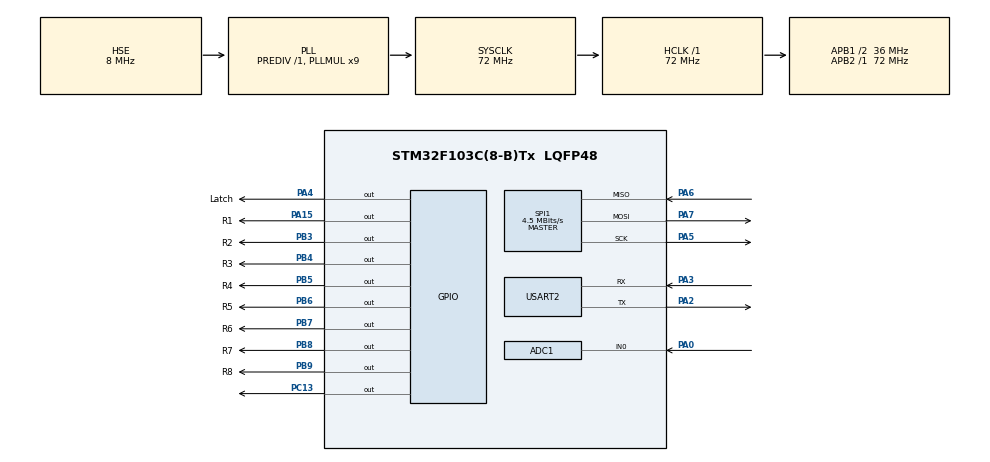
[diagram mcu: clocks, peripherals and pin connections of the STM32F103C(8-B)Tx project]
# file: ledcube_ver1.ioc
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ADC1.Channel-0\#ChannelRegularConversion=ADC_CHANNEL_0
ADC1.ContinuousConvMode=ENABLE
ADC1.NbrOfConversionFlag=1
ADC1.Rank-0\#ChannelRegularConversion=1
ADC1.SamplingTime-0\#ChannelRegularConversion=ADC_SAMPLETIME_1CYCLE_5
ADC1.master=1
Dma.ADC1.0.Direction=DMA_PERIPH_TO_MEMORY
Dma.ADC1.0.Instance=DMA1_Channel1
Dma.ADC1.0.MemDataAlignment=DMA_MDATAALIGN_HALFWORD
Dma.ADC1.0.MemInc=DMA_MINC_ENABLE
Dma.ADC1.0.Mode=DMA_CIRCULAR
Dma.ADC1.0.PeriphDataAlignment=DMA_PDATAALIGN_HALFWORD
Dma.ADC1.0.PeriphInc=DMA_PINC_DISABLE
Dma.ADC1.0.Priority=DMA_PRIORITY_LOW
Dma.Request0=ADC1
Mcu.Family=STM32F1
Mcu.Name=STM32F103C(8-B)Tx
Mcu.Package=LQFP48
NVIC.DMA1_Channel1_IRQn=true\:0\:0\:false\:false\:true\:false\:true\:true
NVIC.PriorityGroup=NVIC_PRIORITYGROUP_4
PA0-WKUP.Signal=ADCx_IN0
PA13.Mode=Serial_Wire
PA13.Signal=SYS_JTMS-SWDIO
PA14.Mode=Serial_Wire
PA14.Signal=SYS_JTCK-SWCLK
PA15.GPIO_Label=R1
PA15.GPIO_Speed=GPIO_SPEED_FREQ_MEDIUM
PA15.PinState=GPIO_PIN_SET
PA15.Signal=GPIO_Output
PA2.Mode=Asynchronous
PA2.Signal=USART2_TX
PA3.Mode=Asynchronous
PA3.Signal=USART2_RX
PA4.GPIO_Label=Latch
PA4.Signal=GPIO_Output
PA5.Mode=Full_Duplex_Master
PA5.Signal=SPI1_SCK
PA6.Mode=Full_Duplex_Master
PA6.Signal=SPI1_MISO
PA7.Mode=Full_Duplex_Master
PA7.Signal=SPI1_MOSI
PB3.GPIO_Label=R2
PB3.GPIO_Speed=GPIO_SPEED_FREQ_MEDIUM
PB3.PinState=GPIO_PIN_SET
PB3.Signal=GPIO_Output
PB4.GPIO_Label=R3
PB4.GPIO_Speed=GPIO_SPEED_FREQ_MEDIUM
PB4.PinState=GPIO_PIN_SET
PB4.Signal=GPIO_Output
PB5.GPIO_Label=R4
PB5.GPIO_Speed=GPIO_SPEED_FREQ_MEDIUM
PB5.PinState=GPIO_PIN_SET
PB5.Signal=GPIO_Output
PB6.GPIO_Label=R5
PB6.GPIO_Speed=GPIO_SPEED_FREQ_MEDIUM
PB6.PinState=GPIO_PIN_SET
PB6.Signal=GPIO_Output
PB7.GPIO_Label=R6
PB7.GPIO_Speed=GPIO_SPEED_FREQ_MEDIUM
PB7.PinState=GPIO_PIN_SET
PB7.Signal=GPIO_Output
PB8.GPIO_Label=R7
PB8.GPIO_Speed=GPIO_SPEED_FREQ_MEDIUM
PB8.PinState=GPIO_PIN_SET
PB8.Signal=GPIO_Output
PB9.GPIO_Label=R8
PB9.GPIO_Speed=GPIO_SPEED_FREQ_MEDIUM
PB9.PinState=GPIO_PIN_SET
PB9.Signal=GPIO_Output
PC13-TAMPER-RTC.Signal=GPIO_Output
PD0-OSC_IN.Mode=HSE-External-Oscillator
PD0-OSC_IN.Signal=RCC_OSC_IN
PD1-OSC_OUT.Mode=HSE-External-Oscillator
PD1-OSC_OUT.Signal=RCC_OSC_OUT
ProjectManager.HeapSize=0x200
ProjectManager.StackSize=0x400
ProjectManager.TargetToolchain=STM32CubeIDE
RCC.ADCPresc=RCC_ADCPCLK2_DIV6
RCC.AHBFreq_Value=72000000
RCC.APB1CLKDivider=RCC_HCLK_DIV2
RCC.APB1Freq_Value=36000000
RCC.APB1TimFreq_Value=72000000
RCC.APB2Freq_Value=72000000
RCC.APB2TimFreq_Value=72000000
RCC.HCLKFreq_Value=72000000
RCC.PLLMUL=RCC_PLL_MUL9
RCC.PLLSourceVirtual=RCC_PLLSOURCE_HSE
RCC.SYSCLKFreq_VALUE=72000000
RCC.SYSCLKSource=RCC_SYSCLKSOURCE_PLLCLK
RCC.USBFreq_Value=72000000
SH.ADCx_IN0.0=ADC1_IN0,IN0
SPI1.BaudRatePrescaler=SPI_BAUDRATEPRESCALER_16
SPI1.CalculateBaudRate=4.5 MBits/s
SPI1.Direction=SPI_DIRECTION_2LINES
SPI1.Mode=SPI_MODE_MASTER
SPI1.VirtualType=VM_MASTER
TIM2.Period=9
TIM2.Prescaler=7199
USART2.VirtualMode=VM_ASYNC
VP_TIM2_VS_ClockSourceINT.Mode=Internal
board=custom

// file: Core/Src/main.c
/* USER CODE BEGIN Header */
/**
  ******************************************************************************
  * @file           : main.c
  * @brief          : Main program body
  ******************************************************************************
  * @attention
  *
  * Copyright (c) 2025 STMicroelectronics.
  * All rights reserved.
  *
  * This software is licensed under terms that can be found in the LICENSE file
  * in the root directory of this software component.
  * If no LICENSE file comes with this software, it is provided AS-IS.
  *
  ******************************************************************************
  */
/* USER CODE END Header */
#include "main.h"

/* USER CODE BEGIN Includes */
#include "stdlib.h"
#include <string.h>
/* USER CODE END Includes */

ADC_HandleTypeDef hadc1;
DMA_HandleTypeDef hdma_adc1;

SPI_HandleTypeDef hspi1;

TIM_HandleTypeDef htim2;

UART_HandleTypeDef huart2;

/* USER CODE BEGIN PV */
#define LATCH_GPIO_Port   GPIOA
#define Latch_Pin         GPIO_PIN_4

// ====== TUỲ CHỌN DÂY DỢ ======
#define INVERT_BITS          0   // 1 nếu cột là active-low (0 = sáng)
#define REVERSE_BIT_ORDER    1   // 1 nếu cột 0 đang đi vào Q7 (MSB<->LSB)
#define REVERSE_BYTE_ORDER   0   // 1 nếu byte[0] đang rơi vào 74HC595 cuối

#define LAYER_ACTIVE_HIGH    1   // 1 nếu GPIO=SET => bật tầng; 0 nếu ngược lại

static uint8_t cube[8][8];   // [z][y], mỗi byte chứa 8 bit cho x
static uint8_t scan_z = 0;

static uint32_t lastRainTick = 0;
/* USER CODE END PV */

void SystemClock_Config(void);
static void MX_GPIO_Init(void);
static void MX_DMA_Init(void);
static void MX_ADC1_Init(void);
static void MX_SPI1_Init(void);
static void MX_USART2_UART_Init(void);
static void MX_TIM2_Init(void);
/* USER CODE BEGIN PFP */
static void sendTo74HC595(uint8_t const *data8);
static void disable_all_layers(void);
static void enable_layer(uint8_t z);
static void cube_clear(void);
static void rain_effect_update(void);
/* USER CODE END PFP */

/* USER CODE BEGIN 0 */

// Đảo bit trong 1 byte (MSB<->LSB)
static inline uint8_t reverse_bits(uint8_t b) {
    b = (b & 0xF0) >> 4 | (b & 0x0F) << 4;
    b = (b & 0xCC) >> 2 | (b & 0x33) << 2;
    b = (b & 0xAA) >> 1 | (b & 0x55) << 1;
    return b;
}

// Chuẩn hoá 1 byte hàng trước khi gửi ra 74HC595
static inline uint8_t normalize_row(uint8_t b) {
    if (REVERSE_BIT_ORDER) b = reverse_bits(b); // trái-phải
    if (INVERT_BITS)       b = (uint8_t)~b;     // 0<->1 (active-low)
    return b;
}

// Gửi 8 byte (8 hàng) cho 1 tầng
static void sendTo74HC595(uint8_t const *data8)
{
    uint8_t buf[8];
    for (int i = 0; i < 8; i++) {
        uint8_t b = data8[i];
        buf[i] = normalize_row(b);
    }
    if (REVERSE_BYTE_ORDER) {
        // đảo thứ tự 8 byte (y: 0..7 -> 7..0)
        for (int i = 0; i < 4; i++) {
            uint8_t t = buf[i]; buf[i] = buf[7-i]; buf[7-i] = t;
        }
    }
    HAL_GPIO_WritePin(LATCH_GPIO_Port, Latch_Pin, GPIO_PIN_RESET);
    HAL_SPI_Transmit(&hspi1, buf, 8, HAL_MAX_DELAY);
    HAL_GPIO_WritePin(LATCH_GPIO_Port, Latch_Pin, GPIO_PIN_SET);
}

// ========== Tắt tất cả tầng ==========
static void disable_all_layers(void)
{
    // RESET = 0, SET = 1
    HAL_GPIO_WritePin(GPIOA, GPIO_PIN_15, LAYER_ACTIVE_HIGH ? GPIO_PIN_RESET : GPIO_PIN_SET);
    for (int i = 3; i <= 9; i++) {
        HAL_GPIO_WritePin(GPIOB, (uint16_t)(1u << i), LAYER_ACTIVE_HIGH ? GPIO_PIN_RESET : GPIO_PIN_SET);
    }
}

// ========== Bật 1 tầng ==========
static void enable_layer(uint8_t z)
{
    GPIO_TypeDef *port = NULL; uint16_t pin = 0;
    switch (z) {
        case 0: port = GPIOA; pin = GPIO_PIN_15; break;
        case 1: port = GPIOB; pin = GPIO_PIN_3;  break;
        case 2: port = GPIOB; pin = GPIO_PIN_4;  break;
        case 3: port = GPIOB; pin = GPIO_PIN_5;  break;
        case 4: port = GPIOB; pin = GPIO_PIN_6;  break;
        case 5: port = GPIOB; pin = GPIO_PIN_7;  break;
        case 6: port = GPIOB; pin = GPIO_PIN_8;  break;
        case 7: port = GPIOB; pin = GPIO_PIN_9;  break;
        default: return;
    }
    HAL_GPIO_WritePin(port, pin, LAYER_ACTIVE_HIGH ? GPIO_PIN_SET : GPIO_PIN_RESET);
}

// ========== Xoá khối ==========
static void cube_clear(void)
{
    for (int z = 0; z < 8; z++)
        for (int y = 0; y < 8; y++)
            cube[z][y] = 0x00;
}

// ========== Cập nhật mưa ==========
// Ý tưởng: dịch các tầng xuống (7->6->...->0), xoá tầng 7, sinh vài hạt mới
//static void rain_effect_update(void)
//{
//    // Dịch xuống
//    for (int z = 0; z < 7; z++) {
//        for (int y = 0; y < 8; y++) {
//            cube[z][y] = cube[z+1][y];
//        }
//    }
//    // Xoá tầng 7
//    for (int y = 0; y < 8; y++) cube[7][y] = 0x00;
//
//    // Sinh hạt mới (tuỳ chỉnh số lượng/prob)
//    // Cách 1: số hạt cố định mỗi frame
//    // for (int i = 0; i < 2; i++) { uint8_t x = rand()%8, y = rand()%8; cube[7][y] |= (1u<<x); }
//
//    // Cách 2: xác suất – đều và “tơi” hơn
//    const float spawnProb = 0.20f;  // 20% mỗi vị trí
//    for (int y = 0; y < 8; y++) {
//        for (int x = 0; x < 8; x++) {
//            if ((rand() & 0xFFFF) < (uint16_t)(spawnProb * 65535.0f)) {
//                cube[7][y] |= (1u << x);
//            }
//        }
//    }
//}

// ========== Cập nhật mưa: spawn tại z=0, dịch lên z lớn ==========
static void rain_effect_update(void)
{
    // Dịch các lớp "lên trên": (z=7..1) lấy dữ liệu từ (z-1)
    for (int z = 7; z > 0; z--) {
        for (int y = 0; y < 8; y++) {
            cube[z][y] = cube[z-1][y];
        }
    }

    // Xoá tầng gốc (z=0) trước khi sinh hạt mới
    for (int y = 0; y < 8; y++) cube[0][y] = 0x00;

    // Sinh hạt mưa mới tại z=0
    const float spawnProb = 0.20f;  // 20% xác suất mỗi ô
    for (int y = 0; y < 8; y++) {
        for (int x = 0; x < 8; x++) {
            if ((rand() & 0xFFFF) < (uint16_t)(spawnProb * 65535.0f)) {
                cube[0][y] |= (1u << x);
            }
        }
    }
}

// ========== Timer IRQ: quét tầng ==========
void HAL_TIM_PeriodElapsedCallback(TIM_HandleTypeDef *htim)
{
    if (htim->Instance == TIM2)
    {
        disable_all_layers();
        sendTo74HC595(cube[scan_z]);
        enable_layer(scan_z);
        scan_z = (uint8_t)((scan_z + 1) & 0x07);
    }
}

void Cube_AllOff_Immediate(void)
{
  __disable_irq();

  // 1) Dừng quét để ngắt không bật tầng nữa
  HAL_TIM_Base_Stop_IT(&htim2);

  // 2) Tắt toàn bộ tầng (chú ý mức active của phần cứng bạn)
  disable_all_layers();   // với bạn: PA15, PB3..PB9 = RESET là tắt

  // 3) Ghi 0 vào chuỗi 74HC595 và chốt LATCH
  uint8_t zeros[8] = {0};
  HAL_GPIO_WritePin(LATCH_GPIO_Port, Latch_Pin, GPIO_PIN_RESET);
  HAL_SPI_Transmit(&hspi1, zeros, 8, HAL_MAX_DELAY);
  HAL_GPIO_WritePin(LATCH_GPIO_Port, Latch_Pin, GPIO_PIN_SET);

  // 4) Xoá buffer phần mềm để khi bật lại cũng không sáng
  cube_clear();

  // 5) (Tuỳ chọn) Nếu có nối /OE và /SRCLR thì chặn luôn đầu ra
  #ifdef CUBE_OE_Pin
    // /OE mức HIGH = tắt (tri-state)
    HAL_GPIO_WritePin(CUBE_OE_GPIO_Port, CUBE_OE_Pin, GPIO_PIN_SET);
  #endif
  #ifdef CUBE_SRCLR_Pin
    // /SRCLR mức LOW = xoá, sau đó trả lại HIGH để sẵn sàng
    HAL_GPIO_WritePin(CUBE_SRCLR_GPIO_Port, CUBE_SRCLR_Pin, GPIO_PIN_RESET);
    HAL_GPIO_WritePin(CUBE_SRCLR_GPIO_Port, CUBE_SRCLR_Pin, GPIO_PIN_SET);
  #endif

  __enable_irq();
}

// Xoá 1 mặt phẳng z
static inline void plane_clear(uint8_t z) {
  for (int y=0; y<8; y++) cube[z][y] = 0x00;
}

// State cho hiệu ứng
static uint8_t  colIdx = 0;         // 0..63
static uint32_t lastStepTick = 0;

// Gọi lặp trong while(1): chạy trên 1 tầng z
void effect_columns_layer_tick(uint8_t z, uint32_t step_ms)
{
  uint32_t now = HAL_GetTick();
  if (now - lastStepTick < step_ms) return;
  lastStepTick = now;

  // Tính y, x từ chỉ số cột 0..63
  uint8_t y = colIdx / 8;
  uint8_t x = colIdx % 8;

  // Vẽ
//  plane_clear(z);
  cube[z][y] = (uint8_t)(1u << x);

  // Next
  colIdx = (uint8_t)((colIdx + 1) & 0x3F); // %64
}

//static uint8_t  vColIdx = 0;         // 0..63
//static uint32_t vLastStep = 0;
//
//void effect_columns_vertical_tick(uint32_t step_ms)
//{
//  uint32_t now = HAL_GetTick();
//  if (now - vLastStep < step_ms) return;
//  vLastStep = now;
//
//  uint8_t y = vColIdx / 8;
//  uint8_t x = vColIdx % 8;
//
//  // Clear toàn khối rồi bật trục z ở (x,y)
//  cube_clear();
//  for (int z = 0; z < 8; z++) {
//    cube[z][y] |= (uint8_t)(1u << x);
//  }
//
//  vColIdx = (uint8_t)((vColIdx + 1) & 0x3F);
//}

/* USER CODE END 0 */

int main(void)
{

  /* MCU Configuration--------------------------------------------------------*/

  /* Reset of all peripherals, Initializes the Flash interface and the Systick. */
  HAL_Init();

  /* Configure the system clock */
  SystemClock_Config();

  /* Initialize all configured peripherals */
  MX_GPIO_Init();
  MX_DMA_Init();
  MX_ADC1_Init();
  MX_SPI1_Init();
  MX_USART2_UART_Init();
  MX_TIM2_Init();
  /* USER CODE BEGIN 2 */
  // Nếu dùng PB3/PB4 làm GPIO, tắt JTAG (giữ SWD):
    __HAL_AFIO_REMAP_SWJ_NOJTAG();

    // Seed random (đơn giản)
    srand( (unsigned)HAL_GetTick() ^ 0xA5A5u );

    cube_clear();

    // Bật timer quét tầng
    HAL_TIM_Base_Start_IT(&htim2);

//    // Nhịp cập nhật hiệu ứng
//    const uint32_t frame_ms = 80;  // 50–120ms tuỳ khẩu vị
//    lastRainTick = HAL_GetTick();

//    Cube_AllOff_Immediate();

  /* USER CODE END 2 */

  /* Infinite loop */
  while (1)
  {

    /* USER CODE BEGIN 3 */
	  effect_columns_layer_tick(0, 100);   // chạy trên z=0, mỗi 100 ms sang 1 cột

//	  effect_columns_vertical_tick(120);

//	uint32_t now = HAL_GetTick();
//	if (now - lastRainTick >= frame_ms)
//		{
//			lastRainTick = now;
//	        rain_effect_update();
//	    }
//
////	       (tuỳ chọn) báo nhịp
//	HAL_GPIO_TogglePin(GPIOC, GPIO_PIN_13);
//	HAL_Delay(500);

  }
  /* USER CODE END 3 */
}

void SystemClock_Config(void)
{
  RCC_OscInitTypeDef RCC_OscInitStruct = {0};
  RCC_ClkInitTypeDef RCC_ClkInitStruct = {0};
  RCC_PeriphCLKInitTypeDef PeriphClkInit = {0};

  /** Initializes the RCC Oscillators according to the specified parameters
  * in the RCC_OscInitTypeDef structure.
  */
  RCC_OscInitStruct.OscillatorType = RCC_OSCILLATORTYPE_HSE;
  RCC_OscInitStruct.HSEState = RCC_HSE_ON;
  RCC_OscInitStruct.HSEPredivValue = RCC_HSE_PREDIV_DIV1;
  RCC_OscInitStruct.HSIState = RCC_HSI_ON;
  RCC_OscInitStruct.PLL.PLLState = RCC_PLL_ON;
  RCC_OscInitStruct.PLL.PLLSource = RCC_PLLSOURCE_HSE;
  RCC_OscInitStruct.PLL.PLLMUL = RCC_PLL_MUL9;
  if (HAL_RCC_OscConfig(&RCC_OscInitStruct) != HAL_OK)
  {
    Error_Handler();
  }

  /** Initializes the CPU, AHB and APB buses clocks
  */
  RCC_ClkInitStruct.ClockType = RCC_CLOCKTYPE_HCLK|RCC_CLOCKTYPE_SYSCLK
                              |RCC_CLOCKTYPE_PCLK1|RCC_CLOCKTYPE_PCLK2;
  RCC_ClkInitStruct.SYSCLKSource = RCC_SYSCLKSOURCE_PLLCLK;
  RCC_ClkInitStruct.AHBCLKDivider = RCC_SYSCLK_DIV1;
  RCC_ClkInitStruct.APB1CLKDivider = RCC_HCLK_DIV2;
  RCC_ClkInitStruct.APB2CLKDivider = RCC_HCLK_DIV1;

  if (HAL_RCC_ClockConfig(&RCC_ClkInitStruct, FLASH_LATENCY_2) != HAL_OK)
  {
    Error_Handler();
  }
  PeriphClkInit.PeriphClockSelection = RCC_PERIPHCLK_ADC;
  PeriphClkInit.AdcClockSelection = RCC_ADCPCLK2_DIV6;
  if (HAL_RCCEx_PeriphCLKConfig(&PeriphClkInit) != HAL_OK)
  {
    Error_Handler();
  }
}

static void MX_ADC1_Init(void)
{

  ADC_ChannelConfTypeDef sConfig = {0};

  /** Common config
  */
  hadc1.Instance = ADC1;
  hadc1.Init.ScanConvMode = ADC_SCAN_DISABLE;
  hadc1.Init.ContinuousConvMode = ENABLE;
  hadc1.Init.DiscontinuousConvMode = DISABLE;
  hadc1.Init.ExternalTrigConv = ADC_SOFTWARE_START;
  hadc1.Init.DataAlign = ADC_DATAALIGN_RIGHT;
  hadc1.Init.NbrOfConversion = 1;
  if (HAL_ADC_Init(&hadc1) != HAL_OK)
  {
    Error_Handler();
  }

  /** Configure Regular Channel
  */
  sConfig.Channel = ADC_CHANNEL_0;
  sConfig.Rank = ADC_REGULAR_RANK_1;
  sConfig.SamplingTime = ADC_SAMPLETIME_1CYCLE_5;
  if (HAL_ADC_ConfigChannel(&hadc1, &sConfig) != HAL_OK)
  {
    Error_Handler();
  }

}

static void MX_SPI1_Init(void)
{

  /* SPI1 parameter configuration*/
  hspi1.Instance = SPI1;
  hspi1.Init.Mode = SPI_MODE_MASTER;
  hspi1.Init.Direction = SPI_DIRECTION_2LINES;
  hspi1.Init.DataSize = SPI_DATASIZE_8BIT;
  hspi1.Init.CLKPolarity = SPI_POLARITY_LOW;
  hspi1.Init.CLKPhase = SPI_PHASE_1EDGE;
  hspi1.Init.NSS = SPI_NSS_SOFT;
  hspi1.Init.BaudRatePrescaler = SPI_BAUDRATEPRESCALER_16;
  hspi1.Init.FirstBit = SPI_FIRSTBIT_MSB;
  hspi1.Init.TIMode = SPI_TIMODE_DISABLE;
  hspi1.Init.CRCCalculation = SPI_CRCCALCULATION_DISABLE;
  hspi1.Init.CRCPolynomial = 10;
  if (HAL_SPI_Init(&hspi1) != HAL_OK)
  {
    Error_Handler();
  }

}

static void MX_TIM2_Init(void)
{

  TIM_ClockConfigTypeDef sClockSourceConfig = {0};
  TIM_MasterConfigTypeDef sMasterConfig = {0};

  htim2.Instance = TIM2;
  htim2.Init.Prescaler = 7199;
  htim2.Init.CounterMode = TIM_COUNTERMODE_UP;
  htim2.Init.Period = 9;
  htim2.Init.ClockDivision = TIM_CLOCKDIVISION_DIV1;
  htim2.Init.AutoReloadPreload = TIM_AUTORELOAD_PRELOAD_DISABLE;
  if (HAL_TIM_Base_Init(&htim2) != HAL_OK)
  {
    Error_Handler();
  }
  sClockSourceConfig.ClockSource = TIM_CLOCKSOURCE_INTERNAL;
  if (HAL_TIM_ConfigClockSource(&htim2, &sClockSourceConfig) != HAL_OK)
  {
    Error_Handler();
  }
  sMasterConfig.MasterOutputTrigger = TIM_TRGO_RESET;
  sMasterConfig.MasterSlaveMode = TIM_MASTERSLAVEMODE_DISABLE;
  if (HAL_TIMEx_MasterConfigSynchronization(&htim2, &sMasterConfig) != HAL_OK)
  {
    Error_Handler();
  }

}

static void MX_USART2_UART_Init(void)
{

  huart2.Instance = USART2;
  huart2.Init.BaudRate = 115200;
  huart2.Init.WordLength = UART_WORDLENGTH_8B;
  huart2.Init.StopBits = UART_STOPBITS_1;
  huart2.Init.Parity = UART_PARITY_NONE;
  huart2.Init.Mode = UART_MODE_TX_RX;
  huart2.Init.HwFlowCtl = UART_HWCONTROL_NONE;
  huart2.Init.OverSampling = UART_OVERSAMPLING_16;
  if (HAL_UART_Init(&huart2) != HAL_OK)
  {
    Error_Handler();
  }

}

static void MX_DMA_Init(void)
{

  /* DMA controller clock enable */
  __HAL_RCC_DMA1_CLK_ENABLE();

  /* DMA interrupt init */
  /* DMA1_Channel1_IRQn interrupt configuration */
  HAL_NVIC_SetPriority(DMA1_Channel1_IRQn, 0, 0);
  HAL_NVIC_EnableIRQ(DMA1_Channel1_IRQn);

}

static void MX_GPIO_Init(void)
{
  GPIO_InitTypeDef GPIO_InitStruct = {0};

  /* GPIO Ports Clock Enable */
  __HAL_RCC_GPIOC_CLK_ENABLE();
  __HAL_RCC_GPIOD_CLK_ENABLE();
  __HAL_RCC_GPIOA_CLK_ENABLE();
  __HAL_RCC_GPIOB_CLK_ENABLE();

  /*Configure GPIO pin Output Level */
  HAL_GPIO_WritePin(GPIOC, GPIO_PIN_13, GPIO_PIN_RESET);

  /*Configure GPIO pin Output Level */
  HAL_GPIO_WritePin(Latch_GPIO_Port, Latch_Pin, GPIO_PIN_RESET);

  /*Configure GPIO pin Output Level */
  HAL_GPIO_WritePin(R1_GPIO_Port, R1_Pin, GPIO_PIN_SET);

  /*Configure GPIO pin Output Level */
  HAL_GPIO_WritePin(GPIOB, R2_Pin|R3_Pin|R4_Pin|R5_Pin
                          |R6_Pin|R7_Pin|R8_Pin, GPIO_PIN_SET);

  /*Configure GPIO pin : PC13 */
  GPIO_InitStruct.Pin = GPIO_PIN_13;
  GPIO_InitStruct.Mode = GPIO_MODE_OUTPUT_PP;
  GPIO_InitStruct.Pull = GPIO_NOPULL;
  GPIO_InitStruct.Speed = GPIO_SPEED_FREQ_LOW;
  HAL_GPIO_Init(GPIOC, &GPIO_InitStruct);

  /*Configure GPIO pin : Latch_Pin */
  GPIO_InitStruct.Pin = Latch_Pin;
  GPIO_InitStruct.Mode = GPIO_MODE_OUTPUT_PP;
  GPIO_InitStruct.Pull = GPIO_NOPULL;
  GPIO_InitStruct.Speed = GPIO_SPEED_FREQ_LOW;
  HAL_GPIO_Init(Latch_GPIO_Port, &GPIO_InitStruct);

  /*Configure GPIO pin : R1_Pin */
  GPIO_InitStruct.Pin = R1_Pin;
  GPIO_InitStruct.Mode = GPIO_MODE_OUTPUT_PP;
  GPIO_InitStruct.Pull = GPIO_NOPULL;
  GPIO_InitStruct.Speed = GPIO_SPEED_FREQ_MEDIUM;
  HAL_GPIO_Init(R1_GPIO_Port, &GPIO_InitStruct);

  /*Configure GPIO pins : R2_Pin R3_Pin R4_Pin R5_Pin
                           R6_Pin R7_Pin R8_Pin */
  GPIO_InitStruct.Pin = R2_Pin|R3_Pin|R4_Pin|R5_Pin
                          |R6_Pin|R7_Pin|R8_Pin;
  GPIO_InitStruct.Mode = GPIO_MODE_OUTPUT_PP;
  GPIO_InitStruct.Pull = GPIO_NOPULL;
  GPIO_InitStruct.Speed = GPIO_SPEED_FREQ_MEDIUM;
  HAL_GPIO_Init(GPIOB, &GPIO_InitStruct);

}

void Error_Handler(void)
{
  __disable_irq();
  while (1)
  {
  }
}
